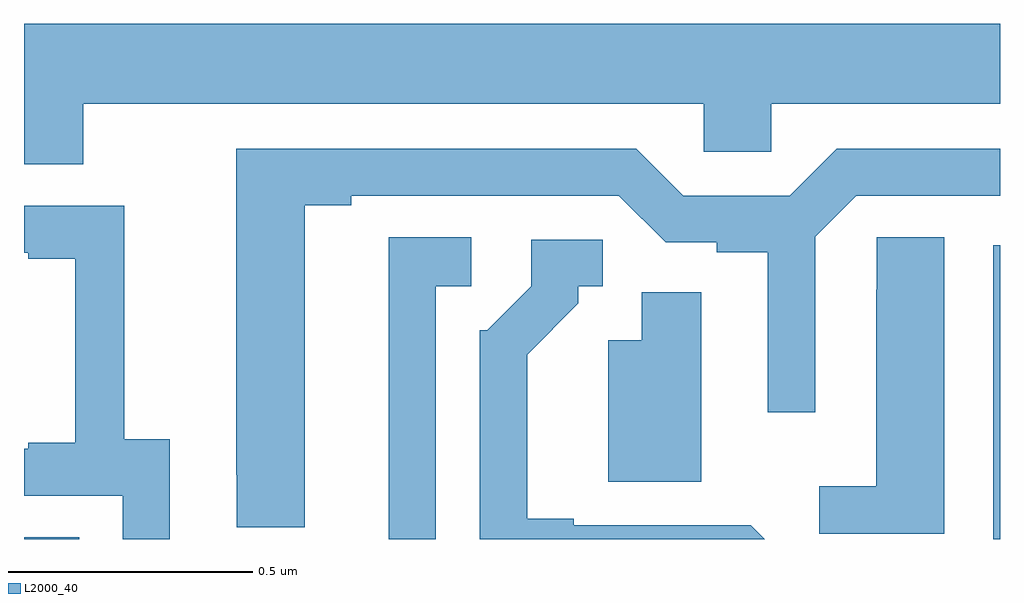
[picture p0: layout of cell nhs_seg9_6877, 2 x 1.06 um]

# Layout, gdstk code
import gdstk
lib = gdstk.Library(unit=1e-6, precision=1e-09)
def R(c, l, rs):  # rectangles x0, y0, x1, y1
    for r in rs: c.add(gdstk.rectangle(r[:2], r[2:], *l))
def P(c, l, *ps):  # polygons
    for p in ps: c.add(gdstk.Polygon(p, *l))
L2000_40 = (2000, 40)

nhs_seg9_6877 = lib.new_cell('nhs_seg9_6877')
R(nhs_seg9_6877, L2000_40, [(197,1223.5,197.113,1223.504), (198.986,1223.5,199,1224.102)])
P(nhs_seg9_6877, L2000_40, [(197.121,1224.392),(198.393,1224.392),(198.393,1224.294),(198.531,1224.294),(198.531,1224.392),(199,1224.392),(199,1224.556),(197,1224.556),(197,1224.268),(197.121,1224.268)],
  [(197.575,1224.184),(197.671,1224.184),(197.671,1224.204),(198.219,1224.204),(198.315,1224.108),(198.42,1224.108),(198.42,1224.088),(198.524,1224.088),(198.524,1223.76),(198.621,1223.76),(198.621,1224.12),(198.705,1224.204),(199,1224.204),(199,1224.3),(198.665,1224.3),(198.569,1224.204),(198.351,1224.204),(198.255,1224.3),(197.435,1224.3),(197.435,1223.632),(197.436,1223.632),(197.436,1223.524),(197.575,1223.524)],
  [(197.299,1223.705),(197.205,1223.705),(197.205,1224.183),(197,1224.183),(197,1224.087),(197.009,1224.087),(197.009,1224.075),(197.105,1224.075),(197.105,1223.698),(197.009,1223.698),(197.009,1223.685),(197,1223.685),(197,1223.589),(197.202,1223.589),(197.202,1223.5),(197.299,1223.5)],
  [(198.886,1224.119),(198.747,1224.119),(198.747,1224.011),(198.746,1224.011),(198.746,1223.608),(198.63,1223.608),(198.63,1223.511),(198.886,1223.511)],
  [(197.844,1224.018),(197.917,1224.018),(197.917,1224.119),(197.747,1224.119),(197.747,1223.5),(197.844,1223.5)],
  [(198.489,1223.529),(198.127,1223.529),(198.127,1223.542),(198.031,1223.542),(198.031,1223.878),(198.136,1223.983),(198.136,1224.018),(198.186,1224.018),(198.186,1224.114),(198.039,1224.114),(198.039,1224.018),(197.949,1223.928),(197.934,1223.928),(197.934,1223.5),(198.518,1223.5)],
  [(198.388,1224.006),(198.266,1224.006),(198.266,1223.908),(198.197,1223.908),(198.197,1223.618),(198.388,1223.618)])

lib.write_gds('nhs_seg9_6877.gds')
